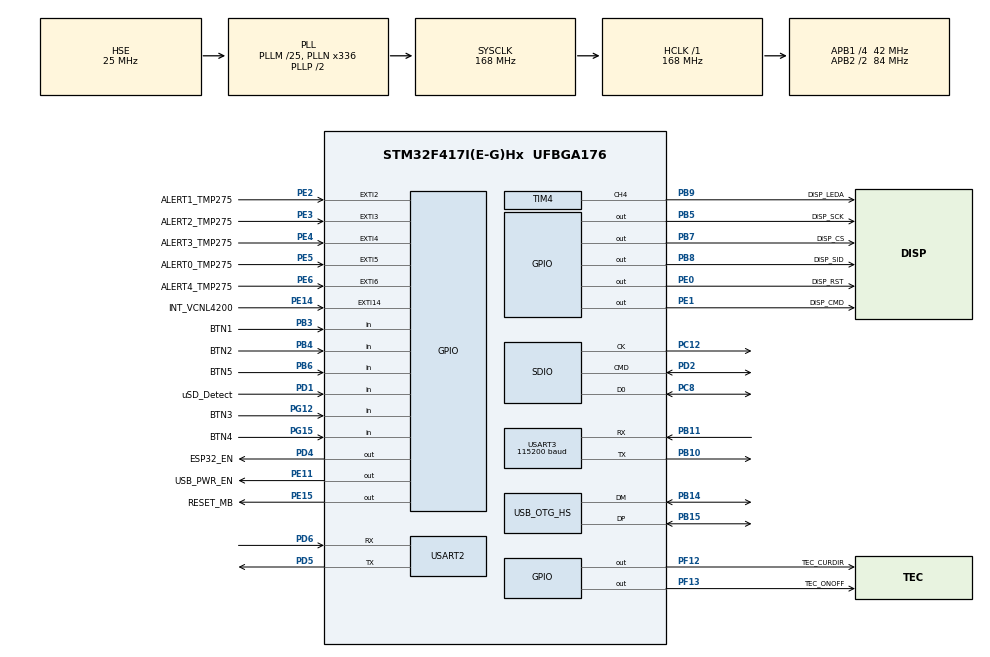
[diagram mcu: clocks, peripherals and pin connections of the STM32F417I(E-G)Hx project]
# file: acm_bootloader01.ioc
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Dma.Request0=SDIO_RX
Dma.Request1=SDIO_TX
Dma.SDIO_RX.0.Direction=DMA_PERIPH_TO_MEMORY
Dma.SDIO_RX.0.FIFOMode=DMA_FIFOMODE_ENABLE
Dma.SDIO_RX.0.FIFOThreshold=DMA_FIFO_THRESHOLD_FULL
Dma.SDIO_RX.0.Instance=DMA2_Stream3
Dma.SDIO_RX.0.MemBurst=DMA_MBURST_INC4
Dma.SDIO_RX.0.MemDataAlignment=DMA_MDATAALIGN_WORD
Dma.SDIO_RX.0.MemInc=DMA_MINC_ENABLE
Dma.SDIO_RX.0.Mode=DMA_PFCTRL
Dma.SDIO_RX.0.PeriphBurst=DMA_PBURST_INC4
Dma.SDIO_RX.0.PeriphDataAlignment=DMA_PDATAALIGN_WORD
Dma.SDIO_RX.0.PeriphInc=DMA_PINC_DISABLE
Dma.SDIO_RX.0.Priority=DMA_PRIORITY_LOW
Dma.SDIO_TX.1.Direction=DMA_MEMORY_TO_PERIPH
Dma.SDIO_TX.1.FIFOMode=DMA_FIFOMODE_ENABLE
Dma.SDIO_TX.1.FIFOThreshold=DMA_FIFO_THRESHOLD_FULL
Dma.SDIO_TX.1.Instance=DMA2_Stream6
Dma.SDIO_TX.1.MemBurst=DMA_MBURST_INC4
Dma.SDIO_TX.1.MemDataAlignment=DMA_MDATAALIGN_WORD
Dma.SDIO_TX.1.MemInc=DMA_MINC_ENABLE
Dma.SDIO_TX.1.Mode=DMA_PFCTRL
Dma.SDIO_TX.1.PeriphBurst=DMA_PBURST_INC4
Dma.SDIO_TX.1.PeriphDataAlignment=DMA_PDATAALIGN_WORD
Dma.SDIO_TX.1.PeriphInc=DMA_PINC_DISABLE
Dma.SDIO_TX.1.Priority=DMA_PRIORITY_LOW
FATFS.BSP.number=1
FATFS.USE_DMA_CODE_SD=1
FATFS._MAX_SS=4096
FATFS._USE_LFN=1
FATFS0.BSP.STBoard=false
FATFS0.BSP.api=Unknown
FATFS0.BSP.i2caddr=0
FATFS0.BSP.instance=PD1
FATFS0.BSP.ip=GPIO
FATFS0.BSP.mode=Input
FATFS0.BSP.name=Detect_SDIO
FATFS0.BSP.solution=PD1
IWDG.Prescaler=IWDG_PRESCALER_256
Mcu.Family=STM32F4
Mcu.Name=STM32F417I(E-G)Hx
Mcu.Package=UFBGA176
NVIC.DMA2_Stream3_IRQn=true\:0\:0\:false\:false\:true\:false\:true
NVIC.DMA2_Stream6_IRQn=true\:0\:0\:false\:false\:true\:false\:true
NVIC.OTG_HS_IRQn=true\:0\:0\:false\:false\:true\:false\:true
NVIC.PriorityGroup=NVIC_PRIORITYGROUP_4
NVIC.SDIO_IRQn=true\:1\:0\:true\:false\:true\:true\:true
NVIC.TIM1_UP_TIM10_IRQn=true\:0\:0\:false\:false\:true\:false\:true
NVIC.TimeBase=TIM1_UP_TIM10_IRQn
NVIC.TimeBaseIP=TIM1
NVIC.USART2_IRQn=true\:1\:0\:true\:false\:true\:true\:true
NVIC.USART3_IRQn=true\:1\:0\:true\:false\:true\:true\:true
PA13.Mode=Serial_Wire
PA13.Signal=SYS_JTMS-SWDIO
PA14.Mode=Serial_Wire
PA14.Signal=SYS_JTCK-SWCLK
PB10.Mode=Asynchronous
PB10.Signal=USART3_TX
PB11.Mode=Asynchronous
PB11.Signal=USART3_RX
PB14.Mode=Host_FS
PB14.Signal=USB_OTG_HS_DM
PB15.Mode=Host_FS
PB15.Signal=USB_OTG_HS_DP
PB3.GPIO_Label=BTN1
PB3.Signal=GPIO_Input
PB4.GPIO_Label=BTN2
PB4.Signal=GPIO_Input
PB5.GPIO_Label=DISP_SCK
PB5.Signal=GPIO_Output
PB6.GPIO_Label=BTN5
PB6.Signal=GPIO_Input
PB7.GPIO_Label=DISP_CS
PB7.Signal=GPIO_Output
PB8.GPIO_Label=DISP_SID
PB8.Signal=GPIO_Output
PB9.GPIO_Label=DISP_LEDA
PB9.Signal=S_TIM4_CH4
PC12.Mode=SD_1_bit
PC12.Signal=SDIO_CK
PC14-OSC32_IN.Mode=LSE-External-Oscillator
PC14-OSC32_IN.Signal=RCC_OSC32_IN
PC15-OSC32_OUT.Mode=LSE-External-Oscillator
PC15-OSC32_OUT.Signal=RCC_OSC32_OUT
PC8.Mode=SD_1_bit
PC8.Signal=SDIO_D0
PD1.GPIO_Label=uSD_Detect
PD1.Signal=GPIO_Input
PD2.Mode=SD_1_bit
PD2.Signal=SDIO_CMD
PD4.GPIO_Label=ESP32_EN
PD4.Signal=GPIO_Output
PD5.Mode=Asynchronous
PD5.Signal=USART2_TX
PD6.Mode=Asynchronous
PD6.Signal=USART2_RX
PE0.GPIO_Label=DISP_RST
PE0.Signal=GPIO_Output
PE1.GPIO_Label=DISP_CMD
PE1.Signal=GPIO_Output
PE11.GPIO_Label=USB_PWR_EN
PE11.Signal=GPIO_Output
PE14.GPIO_Label=INT_VCNL4200
PE14.Signal=GPXTI14
PE15.GPIO_Label=RESET_MB
PE15.Signal=GPIO_Output
PE2.GPIO_Label=ALERT1_TMP275
PE2.Signal=GPXTI2
PE3.GPIO_Label=ALERT2_TMP275
PE3.Signal=GPXTI3
PE4.GPIO_Label=ALERT3_TMP275
PE4.Signal=GPXTI4
PE5.GPIO_Label=ALERT0_TMP275
PE5.Signal=GPXTI5
PE6.GPIO_Label=ALERT4_TMP275
PE6.Signal=GPXTI6
PF12.GPIO_Label=TEC_CURDIR
PF12.Signal=GPIO_Output
PF13.GPIO_Label=TEC_ONOFF
PF13.Signal=GPIO_Output
PG12.GPIO_Label=BTN3
PG12.Signal=GPIO_Input
PG15.GPIO_Label=BTN4
PG15.Signal=GPIO_Input
PH0-OSC_IN.Mode=HSE-External-Oscillator
PH0-OSC_IN.Signal=RCC_OSC_IN
PH1-OSC_OUT.Mode=HSE-External-Oscillator
PH1-OSC_OUT.Signal=RCC_OSC_OUT
ProjectManager.HeapSize=0x800
ProjectManager.StackSize=0x1000
ProjectManager.TargetToolchain=STM32CubeIDE
RCC.48MHZClocksFreq_Value=48000000
RCC.AHBFreq_Value=168000000
RCC.APB1CLKDivider=RCC_HCLK_DIV4
RCC.APB1Freq_Value=42000000
RCC.APB1TimFreq_Value=84000000
RCC.APB2CLKDivider=RCC_HCLK_DIV2
RCC.APB2Freq_Value=84000000
RCC.APB2TimFreq_Value=168000000
RCC.CortexFreq_Value=168000000
RCC.HCLKFreq_Value=168000000
RCC.HSE_VALUE=25000000
RCC.HSI_VALUE=16000000
RCC.PLLM=25
RCC.PLLN=336
RCC.PLLQ=7
RCC.RCC_MCO1Source=RCC_MCO1SOURCE_PLLCLK
RCC.RCC_MCODiv1=RCC_MCODIV_3
RCC.RCC_RTC_Clock_Source=RCC_RTCCLKSOURCE_LSE
RCC.RCC_RTC_Clock_SourceVirtual=RCC_RTCCLKSOURCE_LSE
RCC.SYSCLKFreq_VALUE=168000000
RCC.SYSCLKSource=RCC_SYSCLKSOURCE_PLLCLK
RCC.VCOOutputFreq_Value=336000000
RTC.Date=2
RTC.Format=RTC_FORMAT_BIN
RTC.Month=RTC_MONTH_AUGUST
RTC.WeekDay=RTC_WEEKDAY_SUNDAY
RTC.Year=20
SDIO.ClockDiv=3
SH.S_TIM4_CH4.0=TIM4_CH4,PWM Generation4 CH4
TIM4.Channel-PWM\ Generation4\ CH4=TIM_CHANNEL_4
TIM4.OCPolarity_4=TIM_OCPOLARITY_LOW
TIM4.Period=500-1
TIM4.Prescaler=42-1
TIM4.Pulse-PWM\ Generation4\ CH4=250-1
USART2.VirtualMode=VM_ASYNC
USART3.BaudRate=115200
USART3.VirtualMode=VM_ASYNC
USB_HOST.BSP.number=1
USB_HOST.USBH_HandleTypeDef-MSC_HS=hUsbHostHS
USB_HOST.VirtualModeHS=Msc
USB_HOST0.BSP.STBoard=false
USB_HOST0.BSP.api=Unknown
USB_HOST0.BSP.i2caddr=0
USB_HOST0.BSP.instance=PE11
USB_HOST0.BSP.ip=GPIO
USB_HOST0.BSP.mode=Output
USB_HOST0.BSP.name=Drive_VBUS_HS
USB_HOST0.BSP.solution=PE11
USB_OTG_HS.VirtualMode-Host_FS=Host_FS
USB_OTG_HS.dma_enable-Host_FS=ENABLE
VP_CRC_VS_CRC.Mode=CRC_Activate
VP_FATFS_VS_SDIO.Mode=SDIO
VP_FATFS_VS_USB.Mode=USB
VP_IWDG_VS_IWDG.Mode=IWDG_Activate
VP_RTC_VS_RTC_Activate.Mode=RTC_Enabled
VP_RTC_VS_RTC_Calendar.Mode=RTC_Calendar
VP_SYS_VS_tim1.Mode=TIM1
VP_TIM4_VS_ClockSourceINT.Mode=Internal
VP_USB_HOST_VS_USB_HOST_MSC_HS.Mode=MSC_HS
board=custom

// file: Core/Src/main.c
/* USER CODE BEGIN Header */
/* USER CODE END Header */
#include "main.h"
#include "crc.h"
#include "dma.h"
#include "fatfs.h"
#include "iwdg.h"
#include "rtc.h"
#include "sdio.h"
#include "tim.h"
#include "usart.h"
#include "usb_host.h"
#include "gpio.h"

/* USER CODE BEGIN Includes */
#include "bootloader.h"
#include "bootloader_user.h"
#include "retarget.h"
#include "fonts/font_tahoma.h"
#include "graphics.h"
#include "st7565.h"
#include "libbmp.h"
#include "eeprom.h"
#include "images/acm_logo.h"
/* USER CODE END Includes */

/* USER CODE BEGIN PV */
uint32_t __attribute__((section(".newsection"))) sharedmem;
uint16_t VirtAddVarTab[NB_OF_VAR] = { 10, 0, 0 };
/* USER CODE END PV */

void SystemClock_Config(void);
void MX_USB_HOST_Process(void);

int main(void)
{

  /* MCU Configuration--------------------------------------------------------*/

  /* Reset of all peripherals, Initializes the Flash interface and the Systick. */
  HAL_Init();

  /* Configure the system clock */
  SystemClock_Config();

  /* Initialize all configured peripherals */
  MX_GPIO_Init();
  MX_DMA_Init();
  MX_TIM4_Init();
  MX_RTC_Init();
  MX_SDIO_SD_Init();
  MX_FATFS_Init();
  MX_USART2_UART_Init();
  MX_USART3_UART_Init();
  MX_CRC_Init();
  MX_USB_HOST_Init();
#if __WATCHDOG_ENABLE__
  MX_IWDG_Init();
#endif
  /* USER CODE BEGIN 2 */
  uint16_t r;
	/////////////////////////////////////////////
//	glcd_init(128, 64);
//	glcd_flip_screen(XLR_YTB);
//	draw_text("hello", 10, 30, Tahoma8, 1, 0);
//	glcd_refresh();
//	while(1);
	///////////////////////////////////////////
	//RetargetInit(&huart3);
	////////////////////////////////////////////////////////////////////////////
	printf("\033[0;31;49m\n\r***********************************************************\n\r\033[0;39;49m");
	printf(    "\033[0;31;49m*                  ACAM BOOTLOADER                        *\n\r\033[0;39;49m");
	printf(    "\033[0;31;49m***********************************************************\n\r\033[0;39;49m");
	printf("starting bootloader,shared mem= %lu.\n\r", sharedmem);
	HAL_FLASH_Unlock();
	if ((r=EE_Init()) != EE_OK) {
		printf("EEprom Init problem:%d\n\r",r);
	}
	HAL_Delay(500);
	uint16_t current_version;
	VirtAddVarTab[0] = EE_ADDR_VERSION;
	if((r=EE_ReadVariable(VirtAddVarTab[0], &current_version))!=EE_OK)
		printf("EEprom Read error:%d\n\r",r);

	HAL_FLASH_Lock();
	printf("version of firmware:%d.\n\r", current_version);

	HAL_GPIO_WritePin(USB_PWR_EN_GPIO_Port, USB_PWR_EN_Pin, GPIO_PIN_SET);
	HAL_Delay(1000);
	HAL_GPIO_WritePin(USB_PWR_EN_GPIO_Port, USB_PWR_EN_Pin, GPIO_PIN_RESET);
	////////////////////////////////////////////////////
//    CRC_HandleTypeDef CrcHandle;
//    volatile uint32_t calculatedCrc = 0;
//    calculatedCrc =
//        HAL_CRC_Calculate(&hcrc, (uint32_t*)APP_ADDRESS, (uint32_t)9080);
//    printf("crc=%lu",calculatedCrc);
//    while(1);
	////////////////////////////////////////////////
	glcd_init(128, 64);
	glcd_flip_screen(XLR_YTB);
	FIL myfile;
	FRESULT fr;
#if 0
	if ((fr = f_mount(&SDFatFS, (TCHAR const*) SDPath, 1)) != FR_OK) {
		printf("error mount SD\n\r");
	} else {
		bmp_img img;
		if (bmp_img_read(&img, "logo.bmp") == BMP_OK)
		{
			draw_bmp_h(0, 0, img.img_header.biWidth, img.img_header.biHeight,
					img.img_pixels, 1);
			bmp_img_free(&img);
		}
		else
			printf("bmp file error\n\r");
		f_mount(NULL, "0:", 1);
		draw_rectangle(0, 0, 127 , 63,1);
		glcd_refresh();

	}
#endif
	draw_bmp_h(0,0,aCAM_logo_128_02_H[0],aCAM_logo_128_02_H[2],&aCAM_logo_128_02_H[4],1);
	draw_box(0, 0, 127, 63, 1);
	glcd_refresh();
	HAL_Delay(2000);
	glcd_blank();

//	draw_text("Bootloader...", 0, 0, Tahoma8, 1, 0);
//	glcd_refresh();
//	HAL_Delay(2000);
	////////////////////////////////////////////////////////////////////////////
	uint8_t BTNcounter = 0;
	uint8_t result_usb = MEM_NOT_PRESENT, result_sd = MEM_NOT_PRESENT;
	char firmware_path[100];
	uint16_t firmware_version;
	uint32_t firmware_checksum;
	while (IS_BTN_PRESSED() && BTNcounter < 200) {
		if (BTNcounter == 20) {
			printf("Release button to enter Bootloader.\n\r");
			draw_text("Release to Enter Loader", 0, 10, Tahoma8, 1, 0);
			glcd_refresh();
		}
		BTNcounter++;
		MX_USB_HOST_Process();
		HAL_Delay(100);
#if __WATCHDOG_ENABLE__
			HAL_IWDG_Refresh(&hiwdg);
#endif
	}
	if ((BTNcounter < 100 && BTNcounter > 20)
			|| (sharedmem < WRITE_FROM_SD || sharedmem > FORCE_WRITE_FROM_USB)) {
		if (!(BTNcounter < 100 && BTNcounter > 20)) {
			printf("try to go to application\n\r");
			sharedmem = POWER_UP;
			glcd_blank();
			draw_text("Goto Application", 0, 0, Tahoma8, 1, 0);
			glcd_refresh();
			HAL_Delay(2000);
			goto_application();
			printf(
					"Application was not present, try flashed it from SD & USB\n\r");
		}
		glcd_blank();
		draw_text("try SD:", 0, 0, Tahoma8, 1, 0);
		glcd_refresh();
		if ((result_sd = Check_SDCard(firmware_path, &firmware_version,
				&firmware_checksum)) == MEM_CHECK_OK) {
			printf("Firmware found in SD\n\r");
			printf("Firmware version:%lu\n\r", firmware_version);
			printf("Firmware checksum:%lu\n\r", firmware_checksum);
			printf("Firmware path:%s\n\r", firmware_path);
			if ((result_sd = Write_Flash(SD_ID, firmware_path, firmware_version,
					firmware_checksum)) == FLASH_WRITE_OK) {
				printf("Program Flashed from SD\n\r");
				draw_text("Flashed from SD", 0, 10, Tahoma8, 1, 0);
				glcd_refresh();
				HAL_Delay(1000);

			}
		} else {
			printf("SD CARD Have problem(%d)\n\r", result_sd);
			draw_text("Failed from SD", 0, 10, Tahoma8, 1, 0);
			glcd_refresh();
			HAL_Delay(1000);

		}

		sharedmem = result_sd;
		glcd_blank();
		draw_text("try USB:", 0, 0, Tahoma8, 1, 0);
		glcd_refresh();
		if (result_sd != FLASH_WRITE_OK) {
			if ((result_usb = Check_USBMEM(firmware_path, &firmware_version,
					&firmware_checksum)) == MEM_CHECK_OK) {
				printf("Firmware found in USB\n\r");
				printf("Firmware version:%lu\n\r", firmware_version);
				printf("Firmware checksum:%lu\n\r", firmware_checksum);
				printf("Firmware path:%s\n\r", firmware_path);

				if ((result_usb = Write_Flash(USB_ID, firmware_path,
						firmware_version, firmware_checksum)) == FLASH_WRITE_OK) {
					printf("Program Flashed from USB\n\r");
					draw_text("Flashed from USB", 0, 10, Tahoma8, 1, 0);
					glcd_refresh();
					HAL_Delay(1000);

				}
			} else {
				printf("USB MEMORY Have problem(%d)\n\r", result_usb);
				draw_text("Failed from USB", 0, 10, Tahoma8, 1, 0);
				glcd_refresh();
				HAL_Delay(1000);

			}

			sharedmem = result_usb;
		}
	} else if (sharedmem == WRITE_FROM_SD || sharedmem == FORCE_WRITE_FROM_SD) {
		glcd_blank();
		draw_text("try SD:", 0, 0, Tahoma8, 1, 0);
		glcd_refresh();
		if ((result_sd = Check_SDCard(firmware_path, &firmware_version,
				&firmware_checksum)) == MEM_CHECK_OK) {
			printf("Firmware found in SD\n\r");
			printf("Firmware version:%lu\n\r", firmware_version);
			printf("Firmware checksum:%lu\n\r", firmware_checksum);
			printf("Firmware path:%s\n\r", firmware_path);

			if ((result_sd = Write_Flash(SD_ID, firmware_path, firmware_version,
					firmware_checksum)) == FLASH_WRITE_OK) {
				printf("Program Flashed from SD\n\r");
				draw_text("Flashed from SD", 0, 10, Tahoma8, 1, 0);
				glcd_refresh();
				HAL_Delay(1000);

			}
		} else {
			printf("SD CARD Have problem(%d)\n\r", result_sd);
			draw_text("Failed from SD", 0, 10, Tahoma8, 1, 0);
			glcd_refresh();
			HAL_Delay(1000);

		}

		sharedmem = result_sd;
	} else if (sharedmem == WRITE_FROM_USB || sharedmem == FORCE_WRITE_FROM_USB) {
		glcd_blank();
		draw_text("try USB", 0, 0, Tahoma8, 1, 0);
		glcd_refresh();
		if ((result_usb = Check_USBMEM(firmware_path, &firmware_version,
				&firmware_checksum)) == MEM_CHECK_OK) {
			printf("Firmware found in USB\n\r");
			printf("Firmware version:%lu\n\r", firmware_version);
			printf("Firmware checksum:%lu\n\r", firmware_checksum);
			printf("Firmware path:%s\n\r", firmware_path);
			if ((result_usb = Write_Flash(USB_ID, firmware_path,
					firmware_version, firmware_checksum)) == FLASH_WRITE_OK) {
				printf("Program Flashed from USB\n\r");
				draw_text("Flashed from USB", 0, 10, Tahoma8, 1, 0);
				glcd_refresh();
				HAL_Delay(1000);

			}
		} else {
			printf("USB MEMORY Have problem(%d)\n\r", result_usb);
			draw_text("Failed from USB", 0, 10, Tahoma8, 1, 0);
			glcd_refresh();
			HAL_Delay(1000);
		}

		sharedmem = result_usb;
	}
	glcd_blank();
	draw_text("goto app", 0, 0, Tahoma8, 1, 0);
	glcd_refresh();
	if (!goto_application()) {
		printf("bootloader could not go to application\n\r");
		draw_text("Failed Application", 0, 10, Tahoma8, 1, 0);
		glcd_refresh();
	}
  /* USER CODE END 2 */

  /* Infinite loop */
	while (1) {
    MX_USB_HOST_Process();

	}
}

void SystemClock_Config(void)
{
  RCC_OscInitTypeDef RCC_OscInitStruct = {0};
  RCC_ClkInitTypeDef RCC_ClkInitStruct = {0};
  RCC_PeriphCLKInitTypeDef PeriphClkInitStruct = {0};

  /** Configure the main internal regulator output voltage
  */
  __HAL_RCC_PWR_CLK_ENABLE();
  __HAL_PWR_VOLTAGESCALING_CONFIG(PWR_REGULATOR_VOLTAGE_SCALE1);
  /** Initializes the RCC Oscillators according to the specified parameters
  * in the RCC_OscInitTypeDef structure.
  */
  RCC_OscInitStruct.OscillatorType = RCC_OSCILLATORTYPE_LSI|RCC_OSCILLATORTYPE_HSE
                              |RCC_OSCILLATORTYPE_LSE;
  RCC_OscInitStruct.HSEState = RCC_HSE_ON;
  RCC_OscInitStruct.LSEState = RCC_LSE_ON;
  RCC_OscInitStruct.LSIState = RCC_LSI_ON;
  RCC_OscInitStruct.PLL.PLLState = RCC_PLL_ON;
  RCC_OscInitStruct.PLL.PLLSource = RCC_PLLSOURCE_HSE;
  RCC_OscInitStruct.PLL.PLLM = 25;
  RCC_OscInitStruct.PLL.PLLN = 336;
  RCC_OscInitStruct.PLL.PLLP = RCC_PLLP_DIV2;
  RCC_OscInitStruct.PLL.PLLQ = 7;
  if (HAL_RCC_OscConfig(&RCC_OscInitStruct) != HAL_OK)
  {
    Error_Handler();
  }
  /** Initializes the CPU, AHB and APB buses clocks
  */
  RCC_ClkInitStruct.ClockType = RCC_CLOCKTYPE_HCLK|RCC_CLOCKTYPE_SYSCLK
                              |RCC_CLOCKTYPE_PCLK1|RCC_CLOCKTYPE_PCLK2;
  RCC_ClkInitStruct.SYSCLKSource = RCC_SYSCLKSOURCE_PLLCLK;
  RCC_ClkInitStruct.AHBCLKDivider = RCC_SYSCLK_DIV1;
  RCC_ClkInitStruct.APB1CLKDivider = RCC_HCLK_DIV4;
  RCC_ClkInitStruct.APB2CLKDivider = RCC_HCLK_DIV2;

  if (HAL_RCC_ClockConfig(&RCC_ClkInitStruct, FLASH_LATENCY_5) != HAL_OK)
  {
    Error_Handler();
  }
  PeriphClkInitStruct.PeriphClockSelection = RCC_PERIPHCLK_RTC;
  PeriphClkInitStruct.RTCClockSelection = RCC_RTCCLKSOURCE_LSE;
  if (HAL_RCCEx_PeriphCLKConfig(&PeriphClkInitStruct) != HAL_OK)
  {
    Error_Handler();
  }
}

 /**
  * @brief  Period elapsed callback in non blocking mode
  * @note   This function is called  when TIM1 interrupt took place, inside
  * HAL_TIM_IRQHandler(). It makes a direct call to HAL_IncTick() to increment
  * a global variable "uwTick" used as application time base.
  * @param  htim : TIM handle
  * @retval None
  */
void HAL_TIM_PeriodElapsedCallback(TIM_HandleTypeDef *htim)
{
  if (htim->Instance == TIM1) {
    HAL_IncTick();
  }
}

void Error_Handler(void)
{
}

/************************ (C) COPYRIGHT STMicroelectronics *****END OF FILE****/
